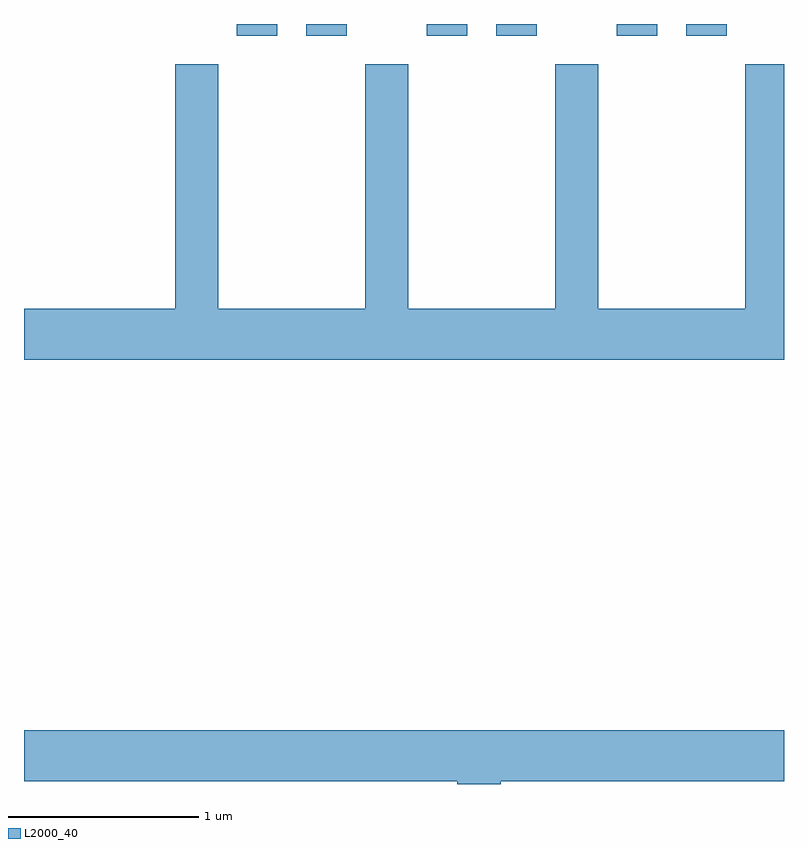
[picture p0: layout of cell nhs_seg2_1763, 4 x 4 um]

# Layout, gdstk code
import gdstk
lib = gdstk.Library(unit=1e-6, precision=1e-09)
def R(c, l, rs):  # rectangles x0, y0, x1, y1
    for r in rs: c.add(gdstk.rectangle(r[:2], r[2:], *l))
def P(c, l, *ps):  # polygons
    for p in ps: c.add(gdstk.Polygon(p, *l))
L2000_40 = (2000, 40)

nhs_seg2_1763 = lib.new_cell('nhs_seg2_1763')
R(nhs_seg2_1763, L2000_40, [(236.731,1107.741,236.944,1107.802), (237.096,1107.741,237.309,1107.802), (237.731,1107.741,237.944,1107.802), (238.096,1107.741,238.309,1107.802), (238.731,1107.741,238.944,1107.802), (239.096,1107.741,239.309,1107.802)])
P(nhs_seg2_1763, L2000_40, [(239.611,1107.589),(239.406,1107.589),(239.406,1106.304),(238.634,1106.304),(238.634,1107.589),(238.406,1107.589),(238.406,1106.304),(237.634,1106.304),(237.634,1107.589),(237.406,1107.589),(237.406,1106.304),(236.634,1106.304),(236.634,1107.589),(236.406,1107.589),(236.406,1106.304),(235.611,1106.304),(235.611,1106.036),(239.611,1106.036)],
  [(238.119,1103.816),(239.611,1103.816),(239.611,1104.084),(235.611,1104.084),(235.611,1103.816),(237.891,1103.816),(237.891,1103.802),(238.119,1103.802)])

lib.write_gds('nhs_seg2_1763.gds')
